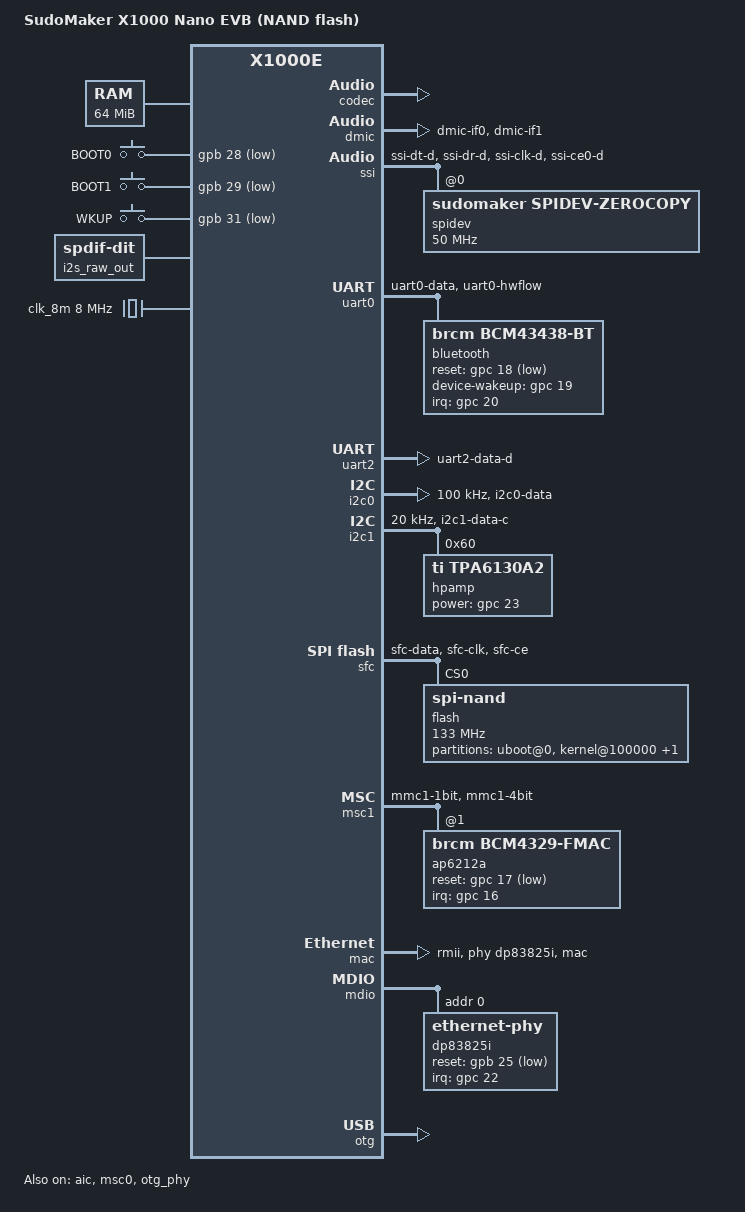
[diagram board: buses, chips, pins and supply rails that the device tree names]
// SPDX-License-Identifier: GPL-2.0
/dts-v1/;

#include "x1000.dtsi"
#include <dt-bindings/gpio/gpio.h>
#include <dt-bindings/input/input.h>
#include <dt-bindings/clock/ingenic,sysost.h>
#include <dt-bindings/interrupt-controller/irq.h>

/ {
	compatible = "sudomaker,x1000-nano-evb", "ingenic,x1000e";
	model = "SudoMaker X1000 Nano EVB (NAND flash)";

	aliases {
		serial2 = &uart2;
	};

	chosen {
		#address-cells = <1>;
		#size-cells = <1>;
		ranges;
		stdout-path = "serial2:115200n8";
		//bootargs = "console=ttyS2,115200n8 mem=64M@0x0 loglevel=7 no_hash_pointers no_console_suspend devtmpfs.mount=1 ingenic_pm_clk=1 ip=off init=/linuxrc ubi.mtd=2 ubi.block=0,0 root=/dev/ubiblock0_0 rootwait";
		// bootargs = "console=ttyS2,115200n8 mem=64M@0x0 loglevel=7 no_hash_pointers no_console_suspend devtmpfs.mount=1 ingenic_pm_clk=1 ip=off init=/bin/ash ubi.mtd=2 ubi.block=0,0 root=/dev/ubiblock0_0 rootwait";

		framebuffer0: framebuffer@3F00000 {
			compatible = "simple-framebuffer";
			reg = <0x03F00000 (240 * 320 * 4)>;
			width = <240>;
			height = <320>;
			stride = <(240 * 4)>;
			format = "a8r8g8b8";
			status = "okay";
		};

		// framebuffer0: framebuffer@3F00000 {
		// 	compatible = "simple-framebuffer";
		// 	reg = <0x03F00000 (320 * 240 * 4)>;
		// 	width = <320>;
		// 	height = <240>;
		// 	stride = <(320 * 4)>;
		// 	format = "a8r8g8b8";
		// 	status = "okay";
		// };
	};

	memory {
		device_type = "memory";
		reg = <0x0 0x04000000>;
	};

	gpio_keys {
		compatible = "gpio-keys";

		btn_lf {
			wakeup-source;
			label = "BOOT0";
			linux,code = <KEY_F1>;
			gpios = <&gpb 28 GPIO_ACTIVE_LOW>;
		};

		btn_rf {
			wakeup-source;
			label = "BOOT1";
			linux,code = <KEY_F2>;
			gpios = <&gpb 29 GPIO_ACTIVE_LOW>;
		};

		btn_wkup {
			wakeup-source;
			label = "WKUP";
			linux,code = <KEY_F3>;
			gpios = <&gpb 31 GPIO_ACTIVE_LOW>;
		};
	};

	sound_internal_codec {
		status = "okay";

		compatible = "simple-audio-card";

		simple-audio-card,name = "x1000-aic";
		simple-audio-card,bitclock-master = <&dai_codec>;
		simple-audio-card,frame-master = <&dai_codec>;
		simple-audio-card,format = "i2s";
		simple-audio-card,aux-devs = <&hpamp>;

		dai_cpu: simple-audio-card,cpu {
			sound-dai = <&aic>;
			system-clock-frequency = <24000000>;
			system-clock-direction-out;
		};

		dai_codec: simple-audio-card,codec {
			sound-dai = <&codec>;
			system-clock-frequency = <24000000>;
		};
	};

	sound_i2s_output_only {
		status = "disabled";

		compatible = "simple-audio-card";

		simple-audio-card,name = "x1000-aic";

		simple-audio-card,mclk-fs = <256>;
		simple-audio-card,bitclock-master = <&dai_codec1>;
		simple-audio-card,frame-master = <&dai_codec1>;
		simple-audio-card,format = "i2s";

		dai_cpu1: simple-audio-card,cpu {
			sound-dai = <&aic>;
			system-clock-direction-out;
		};

		dai_codec1: simple-audio-card,codec {
			sound-dai = <&i2s_raw_out>;
		};
	};

	i2s_raw_out: i2s-generic {
		#address-cells = <0>;
		#size-cells = <0>;
		#sound-dai-cells = <0>;
		compatible = "linux,spdif-dit";
		status = "okay";
	};

	clk_8m: clock {
		compatible = "fixed-clock";
		#clock-cells = <0>;
		clock-frequency = <8000000>;
		clock-accuracy = <100>;
	};
};

&exclk {
	clock-frequency = <24000000>;
};

&cgu {
	assigned-clocks = <&cgu X1000_CLK_SSIMUX>, <&cgu X1000_CLK_RTC>;
	assigned-clock-parents = <&cgu X1000_CLK_SSIPLL_DIV2>, <&cgu X1000_CLK_RTCLK>;
};

&ost {
	/* 1500 kHz for the system timer and clocksource */
	assigned-clocks = <&ost OST_CLK_EVENT_TIMER>, <&ost OST_CLK_GLOBAL_TIMER>;
	assigned-clock-rates = <1500000>, <1500000>;
};

&aic {
	status = "okay";
	pinctrl-names = "default";
	pinctrl-0 = <&pins_i2s>;

	use-internal-codec;
};

&codec {
	status = "okay";
};

&dmic {
	status = "okay";

	pinctrl-names = "default";
	pinctrl-0 = <&pins_dmic>;
};

// &slcd {
// 	// SSD1963
// 	status = "okay";

// 	pinctrl-names = "default";
// 	pinctrl-0 = <&pins_slcd>;

// 	reset-gpios = <&gpc 25 GPIO_ACTIVE_LOW>;
// 	rd-gpios = <&gpb 16 GPIO_ACTIVE_LOW>;

// 	width = <320>;
// 	height = <320>;
// 	buswidth = <8>;
// 	bpp = <24>;
// 	bus-max-speed = <15000000>;

// 	sequence-format = <0>;		// 8bit

// 	init-sequence = /bits/ 16 <
// 		// Set PLL config
// 		// 10 * 30 / 3 = 100 MHz
// 		1 0xe2
// 		2 0x1d 2 0x02 2 0x54

// 		// Enable PLL
// 		1 0xe0
// 		2 0x01

// 		// Wait 1ms
// 		3 1

// 		// Use PLL output as system clock
// 		1 0xe0
// 		2 0x03

// 		// Soft reset
// 		1 0x01

// 		// Wait 20ms
// 		3 20

// 		// Set PCLK frequency
// 		// 100 * ( ( 17039 + 1 ) / 2^20 ) * 4 = 6.500244140625 MHz
// 		1 0xe7
// 		2 0x00 2 0x42 2 0x8f

// 		// Set PWM frequency
// 		1 0xbe
// 		2 0x00 2 0xff 2 0x01 2 0xff 2 0xff 2 0x00


// 		1 0x29			// Display on
// 	>;

// 	write-sequence = /bits/ 16 <
// 		1 0x2c
// 	>;

// 	rotate-sequence-0 = /bits/ 16 <
// 		1 0x36 2 0x08
// 	>;

// 	rotate-sequence-90 = /bits/ 16 <
// 		1 0x36 2 0x60
// 	>;

// 	rotate-sequence-180 = /bits/ 16 <
// 		1 0x36 2 0xc0
// 	>;

// 	rotate-sequence-270 = /bits/ 16 <
// 		1 0x36 2 0xa0
// 	>;
// };

// &slcd {
// 	status = "okay";

// 	pinctrl-names = "default";
// 	pinctrl-0 = <&pins_slcd>;

// 	reset-gpios = <&gpc 25 GPIO_ACTIVE_LOW>;
// 	rd-gpios = <&gpb 16 GPIO_ACTIVE_LOW>;

// 	width = <240>;
// 	height = <320>;
// 	buswidth = <8>;
// 	bpp = <24>;
// 	bus-max-speed = <15000000>;

// 	sequence-format = <0>; // ST7789: 8bit

// 	init-sequence = /bits/ 16 <
// 		1 0x11			// Sleep out
// 		3 120			// Sleep 120ms
// 		1 0x36 2 0x00		// Memory Access Control
// 		1 0x3a 2 0x06		// RGB888
// 		1 0xb2			// Frame rate
// 		2 0x08 2 0x08 2 0x00 2 0x22 2 0x22

// 		1 0xb7 2 0x70		// VGH+14, VGL-7
// 		1 0xbb 2 0x3e		// VCOM
// 		1 0xc0 2 0x2c		// Power control
// 		1 0xc2 2 0x01
// 		1 0xc3 2 0x0d		// GVDD
// 		1 0xc4 2 0x20
// 		1 0xc6 2 0x0f		// Frame Rate Control in Normal Mode
// 		1 0xd0 2 0xa4 2 0xa1

// 		// 1 0xE0			// Set Gamma 1
// 		// 2 0xF0 2 0x03 2 0x05 2 0x08 2 0x08 2 0x05 2 0x1F
// 		// 2 0X44 2 0x2F 2 0x14 2 0x0B 2 0x0A 2 0x06 2 0x0D

// 		// 1 0XE1			// Set Gamma 2
// 		// 2 0xF0 2 0x03 2 0x06 2 0x05 2 0x04 2 0x12 2 0x1F
// 		// 2 0x53 2 0x2F 2 0x27 2 0x0A 2 0x0A 2 0x05 2 0x0D

// 		1 0X21
// 		1 0x29			// Display on
// 	>;

// 	write-sequence = /bits/ 16 <
// 		1 0x2c
// 	>;

// 	rotate-sequence-0 = /bits/ 16 <
// 		1 0x36 2 0x08
// 	>;

// 	rotate-sequence-90 = /bits/ 16 <
// 		1 0x36 2 0x60
// 	>;

// 	rotate-sequence-180 = /bits/ 16 <
// 		1 0x36 2 0xc0
// 	>;

// 	rotate-sequence-270 = /bits/ 16 <
// 		1 0x36 2 0xa0
// 	>;
// };

// &slcd {
// 	status = "okay";

// 	pinctrl-names = "default";
// 	pinctrl-0 = <&pins_slcd>;

// 	reset-gpios = <&gpc 25 GPIO_ACTIVE_LOW>;
// 	rd-gpios = <&gpb 16 GPIO_ACTIVE_LOW>;

// 	width = <320>;
// 	height = <320>;
// 	buswidth = <8>;
// 	bpp = <24>;
// 	bus-max-speed = <15000000>;
// 	use-te;

// 	sequence-format = <0>; // ST7796: 8bit

// 	init-sequence = /bits/ 16 <
// 		1 0x11			// Sleep out
// 		3 120			// Sleep 120ms

// 		1 0xf0 2 0xc3
// 		1 0xf0 2 0x96

// 		1 0x36 2 0x48		// Memory Access Control
// 		1 0x3a 2 0x67		// RGB888

// 		1 0xb4 2 0x00
// 		1 0xb1 2 0xa0 2 0x10
// 		1 0xb5 2 0x1f 2 0x39 2 0x00 2 0x20
// 		1 0xb6 2 0x8a 2 0x07 2 0x27
// 		1 0xb7 2 0xc6
// 		1 0xb9 2 0x02 2 0xe0
// 		1 0xc0 2 0x80 2 0x05	// Power control
// 		1 0xc1 2 0x15
// 		1 0xc2 2 0xa7
// 		1 0xc5 2 0x0c

// 		3 120

// 		1 0xe8 2 0x40 2 0x8a 2 0x00 2 0x00 2 0x29 2 0x19 2 0xaa 2 0x33
// 		1 0xe0 2 0xf0 2 0x03 2 0x09 2 0x02 2 0x01 2 0x01 2 0x33 2 0x44 2 0x49 2 0x3a 2 0x16 2 0x18 2 0x2f 2 0x34
// 		1 0xe1 2 0xf0 2 0x0f 2 0x15 2 0x0d 2 0x0d 2 0x28 2 0x32 2 0x33 2 0x49 2 0x03 2 0x0d 2 0x0e 2 0x28 2 0x2f

// 		3 120

// 		1 0xf0 2 0x3c
// 		1 0xf0 2 0x69

// 		1 0x35 2 0x00

// 		1 0x29			// Display on
// 		1 0x21
// 		1 0x13
// 	>;

// 	write-sequence = /bits/ 16 <
// 		1 0x2c
// 	>;

// 	rotate-sequence-0 = /bits/ 16 <
// 		1 0x36 2 0x48
// 	>;

// 	rotate-sequence-90 = /bits/ 16 <
// 		1 0x36 2 0x48
// 	>;

// 	rotate-sequence-180 = /bits/ 16 <
// 		1 0x36 2 0x48
// 	>;

// 	rotate-sequence-270 = /bits/ 16 <
// 		1 0x36 2 0x48
// 	>;
// };


// &slcd {
// 	status = "okay";

// 	pinctrl-names = "default";
// 	pinctrl-0 = <&pins_slcd>;

// 	reset-gpios = <&gpc 25 GPIO_ACTIVE_LOW>;
// 	rd-gpios = <&gpb 16 GPIO_ACTIVE_LOW>;

// 	width = <480>;
// 	height = <272>;
// 	buswidth = <8>;
// 	bpp = <16>;
// 	bus-max-speed = <15000000>;

// 	sequence-format = <0>; // NV3047D: 8bit

// 	init-sequence = /bits/ 16 <
// 		3 120
// 		1 0xff 2 0xa5
// 		1 0xE7 2 0x10
// 		1 0x35 2 0x00
// 		1 0x36 2 0xc0
// 		1 0x3A 2 0x01
// 		1 0x40 2 0x01
// 		1 0x41 2 0x01
// 		1 0x44 2 0x15
// 		1 0x45 2 0x15
// 		1 0x7d 2 0x03

// 		1 0xc1 2 0xbb
// 		1 0xc2 2 0x05
// 		1 0xc3 2 0x10
// 		1 0xc6 2 0x3e
// 		1 0xc7 2 0x25
// 		1 0xc8 2 0x21
// 		1 0x7a 2 0x40
// 		1 0x6f 2 0x5f
// 		1 0x78 2 0x7f
// 		1 0xc9 2 0x00
// 		1 0x67 2 0x11

// 		1 0x51 2 0x0a
// 		1 0x52 2 0x7d
// 		1 0x53 2 0x0a
// 		1 0x54 2 0x7d

// 		1 0x46 2 0x0a
// 		1 0x47 2 0x2a
// 		1 0x48 2 0x0a
// 		1 0x49 2 0x1a
// 		1 0x44 2 0x15
// 		1 0x45 2 0x15
// 		1 0x73 2 0x08
// 		1 0x74 2 0x10

// 		// 1 0xf8 2 0x16
// 		// 1 0xf9 2 0x20

// 		1 0x56 2 0x43
// 		1 0x57 2 0x42
// 		1 0x58 2 0x3c
// 		1 0x59 2 0x64
// 		1 0x5a 2 0x41
// 		1 0x5b 2 0x3C
// 		1 0x5c 2 0x02
// 		1 0x5d 2 0x3c
// 		1 0x5e 2 0x1f
// 		1 0x60 2 0x80
// 		1 0x61 2 0x3f
// 		1 0x62 2 0x21
// 		1 0x63 2 0x07
// 		1 0x64 2 0xe0
// 		1 0x65 2 0x02
// 		1 0xca 2 0x20
// 		1 0xcb 2 0x52
// 		1 0xcc 2 0x10
// 		1 0xcD 2 0x42
// 		1 0xD0 2 0x20
// 		1 0xD1 2 0x52
// 		1 0xD2 2 0x10
// 		1 0xD3 2 0x42
// 		1 0xD4 2 0x0a
// 		1 0xD5 2 0x32

// 		1 0x80 2 0x00
// 		1 0xA0 2 0x00
// 		1 0x81 2 0x06
// 		1 0xA1 2 0x08
// 		1 0x82 2 0x03
// 		1 0xA2 2 0x03
// 		1 0x86 2 0x14
// 		1 0xA6 2 0x14
// 		1 0x87 2 0x2C
// 		1 0xA7 2 0x26
// 		1 0x83 2 0x37
// 		1 0xA3 2 0x37
// 		1 0x84 2 0x35
// 		1 0xA4 2 0x35
// 		1 0x85 2 0x3f
// 		1 0xA5 2 0x3f
// 		1 0x88 2 0x0A
// 		1 0xA8 2 0x0A
// 		1 0x89 2 0x13
// 		1 0xA9 2 0x12
// 		1 0x8a 2 0x18
// 		1 0xAa 2 0x19
// 		1 0x8b 2 0x0a
// 		1 0xAb 2 0x0a
// 		1 0x8c 2 0x17
// 		1 0xAc 2 0x0B
// 		1 0x8d 2 0x1A
// 		1 0xAd 2 0x09
// 		1 0x8e 2 0x1A
// 		1 0xAe 2 0x08
// 		1 0x8f 2 0x1F
// 		1 0xAf 2 0x00
// 		1 0x90 2 0x08
// 		1 0xB0 2 0x00
// 		1 0x91 2 0x10
// 		1 0xB1 2 0x06

// 		1 0x92 2 0x19
// 		1 0xB2 2 0x15

// 		1 0xff 2 0x00
// 		1 0x11
// 		3 120

// 		1 0x29
// 		3 120
// 	>;

// 	write-sequence = /bits/ 16 <
// 		1 0x2c
// 	>;

// 	rotate-sequence-0 = /bits/ 16 <
// 		1 0x28
// 		1 0x36 2 0xc0
// 		1 0x29
// 	>;

// 	rotate-sequence-90 = /bits/ 16 <
// 		1 0x28
// 		1 0x36 2 0x60
// 		1 0x29
// 	>;

// 	rotate-sequence-180 = /bits/ 16 <
// 		1 0x28
// 		1 0x36 2 0x00
// 		1 0x29
// 	>;

// 	rotate-sequence-270 = /bits/ 16 <
// 		1 0x28
// 		1 0x36 2 0xa0
// 		1 0x29
// 	>;
// };


// &slcd {
// 	status = "okay";

// 	pinctrl-names = "default";
// 	pinctrl-0 = <&pins_slcd>;

// 	reset-gpios = <&gpc 25 GPIO_ACTIVE_LOW>;
// 	rd-gpios = <&gpb 16 GPIO_ACTIVE_LOW>;

// 	panel-model = "TK020F211H";
// 	controller-model = "S6D04K1X01";
// 	width = <320>;
// 	height = <240>;
// 	buswidth = <8>;
// 	bpp = <24>;
// 	bus-max-speed = <15000000>;

// 	sequence-format = <0>; // S6D04K1X01: 8bit

// 	init-sequence = /bits/ 16 <
// 		1 0xf0
// 		2 0x5a 2 0x5a

// 		1 0xf1
// 		2 0x5a 2 0x5a

// 		1 0x11
// 		3 200

// 		1 0xf7
// 		2 0x00 2 0x00 2 0x30 2 0x00

// 		1 0xf2
// 		2 0x1e 2 0x75 2 0x03 2 0x08 2 0x08 2 0x10 2 0x00 2 0x38
// 		2 0xf8 2 0x00 2 0x07 2 0x00 2 0x00 2 0x00 2 0x80 2 0x08 2 0x08

// 		1 0xf3
// 		2 0x01 2 0xFF 2 0xFF 2 0x00 2 0x00

// 		1 0xf4
// 		2 0x0f 2 0x00 2 0x00 2 0x00 2 0xff 2 0xff 2 0x0f 2 0xff
// 		2 0xff 2 0xff 2 0xff 2 0xff 2 0xff 2 0xff 2 0xff 2 0x00
// 		2 0x00 2 0x00 2 0x00

// 		1 0xf5
// 		2 0x00 2 0x44 2 0x40 2 0x00 2 0x00 2 0x01
// 		2 0x00 2 0x00 2 0x00 2 0x00 2 0x00 2 0x00

// 		1 0xf6
// 		2 0x02 2 0x00 2 0x04 2 0x00 2 0x04
// 		2 0x00 2 0x04 2 0x00 2 0x07

// 		1 0x26
// 		2 0x01

// 		1 0xf9
// 		2 0x07

// 		1 0xfa
// 		2 0x00 2 0x00 2 0x1d 2 0x1c 2 0x1c 2 0x1d
// 		2 0x11 2 0x39 2 0x36 2 0x2a 2 0x1a
// 		2 0x00 2 0x00 2 0x00 2 0x00 2 0x00

// 		1 0xfb
// 		2 0x00 2 0x00 2 0x25 2 0x25 2 0x24 2 0x25
// 		2 0x18 2 0x31 2 0x2e 2 0x21 2 0x12 2 0x00
// 		2 0x00 2 0x00 2 0x00 2 0x00

// 		1 0x36	// Memory Data Access Control
// 		2 0x00

// 		1 0x3A	// SET 262K Color
// 		2 0x66

// 		1 0x11
// 		3 120

// 		1 0x29	// Display on
// 		1 0x20
// 	>;

// 	write-sequence = /bits/ 16 <
// 		1 0x2c
// 	>;

// 	rotate-sequence-0 = /bits/ 16 <
// 		1 0x36 2 0x00
// 	>;

// 	rotate-sequence-90 = /bits/ 16 <
// 		1 0x36 2 0x60
// 	>;

// 	rotate-sequence-180 = /bits/ 16 <
// 		1 0x36 2 0xc0
// 	>;

// 	rotate-sequence-270 = /bits/ 16 <
// 		1 0x36 2 0xa0
// 	>;
// };

// &slcd {
// 	status = "okay";

// 	pinctrl-names = "default";
// 	pinctrl-0 = <&pins_slcd>;

// 	reset-gpios = <&gpc 25 GPIO_ACTIVE_LOW>;
// 	rd-gpios = <&gpb 16 GPIO_ACTIVE_LOW>;

// 	panel-model = "TFT3P4011-E";
// 	controller-model = "R61509V";
// 	width = <240>;
// 	height = <400>;
// 	buswidth = <8>;
// 	bpp = <16>;
// 	bus-max-speed = <15000000>;

// 	sequence-format = <1>; // R61509V: 16bit to 2x8bit, big endian

// 	// WIP
// 	init-sequence = /bits/ 16 <
// 		3 120			// Sleep 120ms
// 		1 0x0000 2 0x0000
// 		1 0x0000 2 0x0000
// 		1 0x0000 2 0x0000
// 		1 0x0000 2 0x0000

// 		// 1 0x0400 2 0x6200
// 		1 0x0008 2 0x0808
// 		// 1 0x0300 2 0x0C00	//gamma
// 		// 1 0x0301 2 0x5A0B
// 		// 1 0x0302 2 0x0906
// 		// 1 0x0303 2 0x1017
// 		// 1 0x0304 2 0x2300
// 		// 1 0x0305 2 0x1700
// 		// 1 0x0306 2 0x6309
// 		// 1 0x0307 2 0x0C09
// 		// 1 0x0308 2 0x100C
// 		// 1 0x0309 2 0x2232
// 		1 0x0010 2 0x0016	//69.5Hz
// 		1 0x0011 2 0x0101
// 		1 0x0012 2 0x0000
// 		1 0x0013 2 0x0001
// 		1 0x0100 2 0x0330	//BT,AP
// 		1 0x0101 2 0x0237	//DC0,DC1,VC
// 		1 0x0103 2 0x0F00	//VDV
// 		1 0x0280 2 0x6100	//VCM
// 		1 0x0102 2 0xC1B0	//VRH,VCMR,PSON,PON

// 		3 120

// 		1 0x0001 2 0x0000
// 		1 0x0002 2 0x0100
// 		1 0x0003 2 0xD030	//TRI=1 (8bitx3)
// 		1 0x0009 2 0x0001
// 		1 0x000C 2 0x0000
// 		1 0x0090 2 0x8000
// 		1 0x000F 2 0x0000
// 		1 0x0210 2 0x0000
// 		1 0x0211 2 0x00EF
// 		1 0x0212 2 0x0000
// 		1 0x0213 2 0x018F	//432=1AF, 400=18F
// 		1 0x0500 2 0x0000
// 		1 0x0501 2 0x0000
// 		1 0x0502 2 0x005F

// 		1 0x0400 2 0xE200
// 		1 0x0401 2 0x0001
// 		1 0x0404 2 0x0000

// 		3 120
// 		1 0x0007 2 0x0100	//BASEE
// 		3 120

// 		1 0x0200 2 0x0000
// 		1 0x0201 2 0x0000
// 	>;

// 	write-sequence = /bits/ 16 <
// 		1 0x0202
// 	>;

// 	window-sequence = /bits/ 16 <
// 		1 0x0210 4 16	// x1<15:0>
// 		1 0x0211 4 17	// x2<15:0>
// 		1 0x0212 4 18	// y1<15:0>
// 		1 0x0213 4 19	// y2<15:0>
// 	>;

// 	rotate-sequence-0 = /bits/ 16 <
// 		1 0x0003 2 0xD030
// 	>;

// 	rotate-sequence-90 = /bits/ 16 <
// 		1 0x0003 2 0x9038
// 	>;

// 	rotate-sequence-180 = /bits/ 16 <
// 		1 0x0003 2 0x9030
// 	>;

// 	rotate-sequence-270 = /bits/ 16 <
// 		1 0x0003 2 0x9038
// 	>;
// };

// &slcd {
// 	status = "okay";

// 	pinctrl-names = "default";
// 	pinctrl-0 = <&pins_slcd>;

// 	reset-gpios = <&gpc 25 GPIO_ACTIVE_LOW>;
// 	rd-gpios = <&gpb 16 GPIO_ACTIVE_LOW>;

// 	width = <320>;
// 	height = <320>;
// 	buswidth = <8>;
// 	bpp = <24>;
// 	bus-max-speed = <25000000>;

// 	sequence-format = <1>; // NT35510: 16bit to 2x8bit, big endian

// 	init-sequence = /bits/ 16 <
// 		1 0xf000 2 0x0055
// 		1 0xf001 2 0x00aa
// 		1 0xf002 2 0x0052
// 		1 0xf003 2 0x0008
// 		1 0xf004 2 0x0001

// 		1 0xbc01 2 0x0086
// 		1 0xbc02 2 0x006a
// 		1 0xbd01 2 0x0086
// 		1 0xbd02 2 0x006a
// 		1 0xbe01 2 0x0067

// 		1 0xd100 2 0x0000
// 		1 0xd101 2 0x005d
// 		1 0xd102 2 0x0000
// 		1 0xd103 2 0x006b
// 		1 0xd104 2 0x0000
// 		1 0xd105 2 0x0084
// 		1 0xd106 2 0x0000
// 		1 0xd107 2 0x009c
// 		1 0xd108 2 0x0000
// 		1 0xd109 2 0x00b1
// 		1 0xd10a 2 0x0000
// 		1 0xd10b 2 0x00d9
// 		1 0xd10c 2 0x0000
// 		1 0xd10d 2 0x00fd
// 		1 0xd10e 2 0x0001
// 		1 0xd10f 2 0x0038
// 		1 0xd110 2 0x0001
// 		1 0xd111 2 0x0068
// 		1 0xd112 2 0x0001
// 		1 0xd113 2 0x00b9
// 		1 0xd114 2 0x0001
// 		1 0xd115 2 0x00fb
// 		1 0xd116 2 0x0002
// 		1 0xd117 2 0x0063
// 		1 0xd118 2 0x0002
// 		1 0xd119 2 0x00b9
// 		1 0xd11a 2 0x0002
// 		1 0xd11b 2 0x00bb
// 		1 0xd11c 2 0x0003
// 		1 0xd11d 2 0x0003
// 		1 0xd11e 2 0x0003
// 		1 0xd11f 2 0x0046
// 		1 0xd120 2 0x0003
// 		1 0xd121 2 0x0069
// 		1 0xd122 2 0x0003
// 		1 0xd123 2 0x008f
// 		1 0xd124 2 0x0003
// 		1 0xd125 2 0x00a4
// 		1 0xd126 2 0x0003
// 		1 0xd127 2 0x00b9
// 		1 0xd128 2 0x0003
// 		1 0xd129 2 0x00c7
// 		1 0xd12a 2 0x0003
// 		1 0xd12b 2 0x00c9
// 		1 0xd12c 2 0x0003
// 		1 0xd12d 2 0x00cb
// 		1 0xd12e 2 0x0003
// 		1 0xd12f 2 0x00cb
// 		1 0xd130 2 0x0003
// 		1 0xd131 2 0x00cb
// 		1 0xd132 2 0x0003
// 		1 0xd133 2 0x00cc

// 		1 0xd200 2 0x0000
// 		1 0xd201 2 0x005d
// 		1 0xd202 2 0x0000
// 		1 0xd203 2 0x006b
// 		1 0xd204 2 0x0000
// 		1 0xd205 2 0x0084
// 		1 0xd206 2 0x0000
// 		1 0xd207 2 0x009c
// 		1 0xd208 2 0x0000
// 		1 0xd209 2 0x00b1
// 		1 0xd20a 2 0x0000
// 		1 0xd20b 2 0x00d9
// 		1 0xd20c 2 0x0000
// 		1 0xd20d 2 0x00fd
// 		1 0xd20e 2 0x0001
// 		1 0xd20f 2 0x0038
// 		1 0xd210 2 0x0001
// 		1 0xd211 2 0x0068
// 		1 0xd212 2 0x0001
// 		1 0xd213 2 0x00b9
// 		1 0xd214 2 0x0001
// 		1 0xd215 2 0x00fb
// 		1 0xd216 2 0x0002
// 		1 0xd217 2 0x0063
// 		1 0xd218 2 0x0002
// 		1 0xd219 2 0x00b9
// 		1 0xd21a 2 0x0002
// 		1 0xd21b 2 0x00bb
// 		1 0xd21c 2 0x0003
// 		1 0xd21d 2 0x0003
// 		1 0xd21e 2 0x0003
// 		1 0xd21f 2 0x0046
// 		1 0xd220 2 0x0003
// 		1 0xd221 2 0x0069
// 		1 0xd222 2 0x0003
// 		1 0xd223 2 0x008f
// 		1 0xd224 2 0x0003
// 		1 0xd225 2 0x00a4
// 		1 0xd226 2 0x0003
// 		1 0xd227 2 0x00b9
// 		1 0xd228 2 0x0003
// 		1 0xd229 2 0x00c7
// 		1 0xd22a 2 0x0003
// 		1 0xd22b 2 0x00c9
// 		1 0xd22c 2 0x0003
// 		1 0xd22d 2 0x00cb
// 		1 0xd22e 2 0x0003
// 		1 0xd22f 2 0x00cb
// 		1 0xd230 2 0x0003
// 		1 0xd231 2 0x00cb
// 		1 0xd232 2 0x0003
// 		1 0xd233 2 0x00cc

// 		1 0xd300 2 0x0000
// 		1 0xd301 2 0x005d
// 		1 0xd302 2 0x0000
// 		1 0xd303 2 0x006b
// 		1 0xd304 2 0x0000
// 		1 0xd305 2 0x0084
// 		1 0xd306 2 0x0000
// 		1 0xd307 2 0x009c
// 		1 0xd308 2 0x0000
// 		1 0xd309 2 0x00b1
// 		1 0xd30a 2 0x0000
// 		1 0xd30b 2 0x00d9
// 		1 0xd30c 2 0x0000
// 		1 0xd30d 2 0x00fd
// 		1 0xd30e 2 0x0001
// 		1 0xd30f 2 0x0038
// 		1 0xd310 2 0x0001
// 		1 0xd311 2 0x0068
// 		1 0xd312 2 0x0001
// 		1 0xd313 2 0x00b9
// 		1 0xd314 2 0x0001
// 		1 0xd315 2 0x00fb
// 		1 0xd316 2 0x0002
// 		1 0xd317 2 0x0063
// 		1 0xd318 2 0x0002
// 		1 0xd319 2 0x00b9
// 		1 0xd31a 2 0x0002
// 		1 0xd31b 2 0x00bb
// 		1 0xd31c 2 0x0003
// 		1 0xd31d 2 0x0003
// 		1 0xd31e 2 0x0003
// 		1 0xd31f 2 0x0046
// 		1 0xd320 2 0x0003
// 		1 0xd321 2 0x0069
// 		1 0xd322 2 0x0003
// 		1 0xd323 2 0x008f
// 		1 0xd324 2 0x0003
// 		1 0xd325 2 0x00a4
// 		1 0xd326 2 0x0003
// 		1 0xd327 2 0x00b9
// 		1 0xd328 2 0x0003
// 		1 0xd329 2 0x00c7
// 		1 0xd32a 2 0x0003
// 		1 0xd32b 2 0x00c9
// 		1 0xd32c 2 0x0003
// 		1 0xd32d 2 0x00cb
// 		1 0xd32e 2 0x0003
// 		1 0xd32f 2 0x00cb
// 		1 0xd330 2 0x0003
// 		1 0xd331 2 0x00cb
// 		1 0xd332 2 0x0003
// 		1 0xd333 2 0x00cc

// 		1 0xd400 2 0x0000
// 		1 0xd401 2 0x005d
// 		1 0xd402 2 0x0000
// 		1 0xd403 2 0x006b
// 		1 0xd404 2 0x0000
// 		1 0xd405 2 0x0084
// 		1 0xd406 2 0x0000
// 		1 0xd407 2 0x009c
// 		1 0xd408 2 0x0000
// 		1 0xd409 2 0x00b1
// 		1 0xd40a 2 0x0000
// 		1 0xd40b 2 0x00d9
// 		1 0xd40c 2 0x0000
// 		1 0xd40d 2 0x00fd
// 		1 0xd40e 2 0x0001
// 		1 0xd40f 2 0x0038
// 		1 0xd410 2 0x0001
// 		1 0xd411 2 0x0068
// 		1 0xd412 2 0x0001
// 		1 0xd413 2 0x00b9
// 		1 0xd414 2 0x0001
// 		1 0xd415 2 0x00fb
// 		1 0xd416 2 0x0002
// 		1 0xd417 2 0x0063
// 		1 0xd418 2 0x0002
// 		1 0xd419 2 0x00b9
// 		1 0xd41a 2 0x0002
// 		1 0xd41b 2 0x00bb
// 		1 0xd41c 2 0x0003
// 		1 0xd41d 2 0x0003
// 		1 0xd41e 2 0x0003
// 		1 0xd41f 2 0x0046
// 		1 0xd420 2 0x0003
// 		1 0xd421 2 0x0069
// 		1 0xd422 2 0x0003
// 		1 0xd423 2 0x008f
// 		1 0xd424 2 0x0003
// 		1 0xd425 2 0x00a4
// 		1 0xd426 2 0x0003
// 		1 0xd427 2 0x00b9
// 		1 0xd428 2 0x0003
// 		1 0xd429 2 0x00c7
// 		1 0xd42a 2 0x0003
// 		1 0xd42b 2 0x00c9
// 		1 0xd42c 2 0x0003
// 		1 0xd42d 2 0x00cb
// 		1 0xd42e 2 0x0003
// 		1 0xd42f 2 0x00cb
// 		1 0xd430 2 0x0003
// 		1 0xd431 2 0x00cb
// 		1 0xd432 2 0x0003
// 		1 0xd433 2 0x00cc

// 		1 0xd500 2 0x0000
// 		1 0xd501 2 0x005d
// 		1 0xd502 2 0x0000
// 		1 0xd503 2 0x006b
// 		1 0xd504 2 0x0000
// 		1 0xd505 2 0x0084
// 		1 0xd506 2 0x0000
// 		1 0xd507 2 0x009c
// 		1 0xd508 2 0x0000
// 		1 0xd509 2 0x00b1
// 		1 0xd50a 2 0x0000
// 		1 0xd50b 2 0x00D9
// 		1 0xd50c 2 0x0000
// 		1 0xd50d 2 0x00fd
// 		1 0xd50e 2 0x0001
// 		1 0xd50f 2 0x0038
// 		1 0xd510 2 0x0001
// 		1 0xd511 2 0x0068
// 		1 0xd512 2 0x0001
// 		1 0xd513 2 0x00b9
// 		1 0xd514 2 0x0001
// 		1 0xd515 2 0x00fb
// 		1 0xd516 2 0x0002
// 		1 0xd517 2 0x0063
// 		1 0xd518 2 0x0002
// 		1 0xd519 2 0x00b9
// 		1 0xd51a 2 0x0002
// 		1 0xd51b 2 0x00bb
// 		1 0xd51c 2 0x0003
// 		1 0xd51d 2 0x0003
// 		1 0xd51e 2 0x0003
// 		1 0xd51f 2 0x0046
// 		1 0xd520 2 0x0003
// 		1 0xd521 2 0x0069
// 		1 0xd522 2 0x0003
// 		1 0xd523 2 0x008f
// 		1 0xd524 2 0x0003
// 		1 0xd525 2 0x00a4
// 		1 0xd526 2 0x0003
// 		1 0xd527 2 0x00b9
// 		1 0xd528 2 0x0003
// 		1 0xd529 2 0x00c7
// 		1 0xd52a 2 0x0003
// 		1 0xd52b 2 0x00c9
// 		1 0xd52c 2 0x0003
// 		1 0xd52d 2 0x00cb
// 		1 0xd52e 2 0x0003
// 		1 0xd52f 2 0x00cb
// 		1 0xd530 2 0x0003
// 		1 0xd531 2 0x00cb
// 		1 0xd532 2 0x0003
// 		1 0xd533 2 0x00cc

// 		1 0xd600 2 0x0000
// 		1 0xd601 2 0x005d
// 		1 0xd602 2 0x0000
// 		1 0xd603 2 0x006b
// 		1 0xd604 2 0x0000
// 		1 0xd605 2 0x0084
// 		1 0xd606 2 0x0000
// 		1 0xd607 2 0x009c
// 		1 0xd608 2 0x0000
// 		1 0xd609 2 0x00b1
// 		1 0xd60a 2 0x0000
// 		1 0xd60b 2 0x00d9
// 		1 0xd60c 2 0x0000
// 		1 0xd60d 2 0x00fd
// 		1 0xd60e 2 0x0001
// 		1 0xd60f 2 0x0038
// 		1 0xd610 2 0x0001
// 		1 0xd611 2 0x0068
// 		1 0xd612 2 0x0001
// 		1 0xd613 2 0x00b9
// 		1 0xd614 2 0x0001
// 		1 0xd615 2 0x00fb
// 		1 0xd616 2 0x0002
// 		1 0xd617 2 0x0063
// 		1 0xd618 2 0x0002
// 		1 0xd619 2 0x00b9
// 		1 0xd61a 2 0x0002
// 		1 0xd61b 2 0x00bb
// 		1 0xd61c 2 0x0003
// 		1 0xd61d 2 0x0003
// 		1 0xd61e 2 0x0003
// 		1 0xd61f 2 0x0046
// 		1 0xd620 2 0x0003
// 		1 0xd621 2 0x0069
// 		1 0xd622 2 0x0003
// 		1 0xd623 2 0x008f
// 		1 0xd624 2 0x0003
// 		1 0xd625 2 0x00a4
// 		1 0xd626 2 0x0003
// 		1 0xd627 2 0x00b9
// 		1 0xd628 2 0x0003
// 		1 0xd629 2 0x00c7
// 		1 0xd62a 2 0x0003
// 		1 0xd62b 2 0x00c9
// 		1 0xd62c 2 0x0003
// 		1 0xd62d 2 0x00cb
// 		1 0xd62e 2 0x0003
// 		1 0xd62f 2 0x00cb
// 		1 0xd630 2 0x0003
// 		1 0xd631 2 0x00cb
// 		1 0xd632 2 0x0003
// 		1 0xd633 2 0x00cc

// 		1 0xba00 2 0x0024
// 		1 0xba01 2 0x0024
// 		1 0xba02 2 0x0024

// 		1 0xb900 2 0x0024
// 		1 0xb901 2 0x0024
// 		1 0xb902 2 0x0024

// 		1 0xf000 2 0x0055
// 		1 0xf001 2 0x00aa
// 		1 0xf002 2 0x0052
// 		1 0xf003 2 0x0008
// 		1 0xf004 2 0x0000

// 		1 0xb100 2 0x00cc

// 		1 0xbc00 2 0x0005
// 		1 0xbc01 2 0x0005
// 		1 0xbc02 2 0x0005

// 		1 0xb800 2 0x0001
// 		1 0xb801 2 0x0003
// 		1 0xb802 2 0x0003
// 		1 0xb803 2 0x0003

// 		1 0xbd02 2 0x0007
// 		1 0xbd03 2 0x0031
// 		1 0xbe02 2 0x0007
// 		1 0xbe03 2 0x0031
// 		1 0xbf02 2 0x0007
// 		1 0xbf03 2 0x0031

// 		1 0xff00 2 0x00aa
// 		1 0xff01 2 0x0055
// 		1 0xff02 2 0x0025
// 		1 0xff03 2 0x0001

// 		1 0xf304 2 0x0011
// 		1 0xf306 2 0x0010
// 		1 0xf308 2 0x0000

// 		1 0x3500 2 0x0000

// 		1 0x2a00 2 0x0000
// 		1 0x2a01 2 0x0000
// 		1 0x2a02 2 0x0001
// 		1 0x2a03 2 0x00df

// 		1 0x2b00 2 0x0000
// 		1 0x2b01 2 0x0000
// 		1 0x2b02 2 0x0003
// 		1 0x2b03 2 0x001f
// 		1 0x3600 2 0x00c0

// 		1 0x1100
// 		3 50

// 		1 0x2900
// 		1 0x2c00 2 0x0000 2 0x0000 2 0x0000
// 	>;

// 	write-sequence = /bits/ 16 <
// 		1 0x2c00
// 	>;

// 	window-sequence = /bits/ 16 <
// 		1 0x2a00 4 0
// 		1 0x2a01 4 1
// 		1 0x2a02 4 2
// 		1 0x2a03 4 3

// 		1 0x2b00 4 4
// 		1 0x2b01 4 5
// 		1 0x2b02 4 6
// 		1 0x2b03 4 7
// 	>;

// 	rotate-sequence-0 = /bits/ 16 <
// 		1 0x3600 2 0x0000
// 	>;

// 	rotate-sequence-90 = /bits/ 16 <
// 		1 0x3600 2 0x0060
// 	>;

// 	rotate-sequence-180 = /bits/ 16 <
// 		1 0x3600 2 0x00c0
// 	>;

// 	rotate-sequence-270 = /bits/ 16 <
// 		1 0x3600 2 0x00a0
// 	>;
// };

&slcd {
	status = "disabled";

	pinctrl-names = "default";
	pinctrl-0 = <&pins_slcd>;

	reset-gpios = <&gpc 25 GPIO_ACTIVE_LOW>;
	rd-gpios = <&gpb 16 GPIO_ACTIVE_LOW>;

	width = <480>;
	height = <800>;
	buswidth = <8>;
	bpp = <16>;
	bus-max-speed = <25000000>;

	sequence-format = <1>; // NT35510: 16bit to 2x8bit, big endian

	init-sequence = /bits/ 16 <
		1 0xf000 2 0x0055
		1 0xf001 2 0x00aa
		1 0xf002 2 0x0052
		1 0xf003 2 0x0008
		1 0xf004 2 0x0001

		1 0xbc01 2 0x0086
		1 0xbc02 2 0x006a
		1 0xbd01 2 0x0086
		1 0xbd02 2 0x006a
		1 0xbe01 2 0x0067

		1 0xd100 2 0x0000
		1 0xd101 2 0x005d
		1 0xd102 2 0x0000
		1 0xd103 2 0x006b
		1 0xd104 2 0x0000
		1 0xd105 2 0x0084
		1 0xd106 2 0x0000
		1 0xd107 2 0x009c
		1 0xd108 2 0x0000
		1 0xd109 2 0x00b1
		1 0xd10a 2 0x0000
		1 0xd10b 2 0x00d9
		1 0xd10c 2 0x0000
		1 0xd10d 2 0x00fd
		1 0xd10e 2 0x0001
		1 0xd10f 2 0x0038
		1 0xd110 2 0x0001
		1 0xd111 2 0x0068
		1 0xd112 2 0x0001
		1 0xd113 2 0x00b9
		1 0xd114 2 0x0001
		1 0xd115 2 0x00fb
		1 0xd116 2 0x0002
		1 0xd117 2 0x0063
		1 0xd118 2 0x0002
		1 0xd119 2 0x00b9
		1 0xd11a 2 0x0002
		1 0xd11b 2 0x00bb
		1 0xd11c 2 0x0003
		1 0xd11d 2 0x0003
		1 0xd11e 2 0x0003
		1 0xd11f 2 0x0046
		1 0xd120 2 0x0003
		1 0xd121 2 0x0069
		1 0xd122 2 0x0003
		1 0xd123 2 0x008f
		1 0xd124 2 0x0003
		1 0xd125 2 0x00a4
		1 0xd126 2 0x0003
		1 0xd127 2 0x00b9
		1 0xd128 2 0x0003
		1 0xd129 2 0x00c7
		1 0xd12a 2 0x0003
		1 0xd12b 2 0x00c9
		1 0xd12c 2 0x0003
		1 0xd12d 2 0x00cb
		1 0xd12e 2 0x0003
		1 0xd12f 2 0x00cb
		1 0xd130 2 0x0003
		1 0xd131 2 0x00cb
		1 0xd132 2 0x0003
		1 0xd133 2 0x00cc

		1 0xd200 2 0x0000
		1 0xd201 2 0x005d
		1 0xd202 2 0x0000
		1 0xd203 2 0x006b
		1 0xd204 2 0x0000
		1 0xd205 2 0x0084
		1 0xd206 2 0x0000
		1 0xd207 2 0x009c
		1 0xd208 2 0x0000
		1 0xd209 2 0x00b1
		1 0xd20a 2 0x0000
		1 0xd20b 2 0x00d9
		1 0xd20c 2 0x0000
		1 0xd20d 2 0x00fd
		1 0xd20e 2 0x0001
		1 0xd20f 2 0x0038
		1 0xd210 2 0x0001
		1 0xd211 2 0x0068
		1 0xd212 2 0x0001
		1 0xd213 2 0x00b9
		1 0xd214 2 0x0001
		1 0xd215 2 0x00fb
		1 0xd216 2 0x0002
		1 0xd217 2 0x0063
		1 0xd218 2 0x0002
		1 0xd219 2 0x00b9
		1 0xd21a 2 0x0002
		1 0xd21b 2 0x00bb
		1 0xd21c 2 0x0003
		1 0xd21d 2 0x0003
		1 0xd21e 2 0x0003
		1 0xd21f 2 0x0046
		1 0xd220 2 0x0003
		1 0xd221 2 0x0069
		1 0xd222 2 0x0003
		1 0xd223 2 0x008f
		1 0xd224 2 0x0003
		1 0xd225 2 0x00a4
		1 0xd226 2 0x0003
		1 0xd227 2 0x00b9
		1 0xd228 2 0x0003
		1 0xd229 2 0x00c7
		1 0xd22a 2 0x0003
		1 0xd22b 2 0x00c9
		1 0xd22c 2 0x0003
		1 0xd22d 2 0x00cb
		1 0xd22e 2 0x0003
		1 0xd22f 2 0x00cb
		1 0xd230 2 0x0003
		1 0xd231 2 0x00cb
		1 0xd232 2 0x0003
		1 0xd233 2 0x00cc

		1 0xd300 2 0x0000
		1 0xd301 2 0x005d
		1 0xd302 2 0x0000
		1 0xd303 2 0x006b
		1 0xd304 2 0x0000
		1 0xd305 2 0x0084
		1 0xd306 2 0x0000
		1 0xd307 2 0x009c
		1 0xd308 2 0x0000
		1 0xd309 2 0x00b1
		1 0xd30a 2 0x0000
		1 0xd30b 2 0x00d9
		1 0xd30c 2 0x0000
		1 0xd30d 2 0x00fd
		1 0xd30e 2 0x0001
		1 0xd30f 2 0x0038
		1 0xd310 2 0x0001
		1 0xd311 2 0x0068
		1 0xd312 2 0x0001
		1 0xd313 2 0x00b9
		1 0xd314 2 0x0001
		1 0xd315 2 0x00fb
		1 0xd316 2 0x0002
		1 0xd317 2 0x0063
		1 0xd318 2 0x0002
		1 0xd319 2 0x00b9
		1 0xd31a 2 0x0002
		1 0xd31b 2 0x00bb
		1 0xd31c 2 0x0003
		1 0xd31d 2 0x0003
		1 0xd31e 2 0x0003
		1 0xd31f 2 0x0046
		1 0xd320 2 0x0003
		1 0xd321 2 0x0069
		1 0xd322 2 0x0003
		1 0xd323 2 0x008f
		1 0xd324 2 0x0003
		1 0xd325 2 0x00a4
		1 0xd326 2 0x0003
		1 0xd327 2 0x00b9
		1 0xd328 2 0x0003
		1 0xd329 2 0x00c7
		1 0xd32a 2 0x0003
		1 0xd32b 2 0x00c9
		1 0xd32c 2 0x0003
		1 0xd32d 2 0x00cb
		1 0xd32e 2 0x0003
		1 0xd32f 2 0x00cb
		1 0xd330 2 0x0003
		1 0xd331 2 0x00cb
		1 0xd332 2 0x0003
		1 0xd333 2 0x00cc

		1 0xd400 2 0x0000
		1 0xd401 2 0x005d
		1 0xd402 2 0x0000
		1 0xd403 2 0x006b
		1 0xd404 2 0x0000
		1 0xd405 2 0x0084
		1 0xd406 2 0x0000
		1 0xd407 2 0x009c
		1 0xd408 2 0x0000
		1 0xd409 2 0x00b1
		1 0xd40a 2 0x0000
		1 0xd40b 2 0x00d9
		1 0xd40c 2 0x0000
		1 0xd40d 2 0x00fd
		1 0xd40e 2 0x0001
		1 0xd40f 2 0x0038
		1 0xd410 2 0x0001
		1 0xd411 2 0x0068
		1 0xd412 2 0x0001
		1 0xd413 2 0x00b9
		1 0xd414 2 0x0001
		1 0xd415 2 0x00fb
		1 0xd416 2 0x0002
		1 0xd417 2 0x0063
		1 0xd418 2 0x0002
		1 0xd419 2 0x00b9
		1 0xd41a 2 0x0002
		1 0xd41b 2 0x00bb
		1 0xd41c 2 0x0003
		1 0xd41d 2 0x0003
		1 0xd41e 2 0x0003
		1 0xd41f 2 0x0046
		1 0xd420 2 0x0003
		1 0xd421 2 0x0069
		1 0xd422 2 0x0003
		1 0xd423 2 0x008f
		1 0xd424 2 0x0003
		1 0xd425 2 0x00a4
		1 0xd426 2 0x0003
		1 0xd427 2 0x00b9
		1 0xd428 2 0x0003
		1 0xd429 2 0x00c7
		1 0xd42a 2 0x0003
		1 0xd42b 2 0x00c9
		1 0xd42c 2 0x0003
		1 0xd42d 2 0x00cb
		1 0xd42e 2 0x0003
		1 0xd42f 2 0x00cb
		1 0xd430 2 0x0003
		1 0xd431 2 0x00cb
		1 0xd432 2 0x0003
		1 0xd433 2 0x00cc

		1 0xd500 2 0x0000
		1 0xd501 2 0x005d
		1 0xd502 2 0x0000
		1 0xd503 2 0x006b
		1 0xd504 2 0x0000
		1 0xd505 2 0x0084
		1 0xd506 2 0x0000
		1 0xd507 2 0x009c
		1 0xd508 2 0x0000
		1 0xd509 2 0x00b1
		1 0xd50a 2 0x0000
		1 0xd50b 2 0x00D9
		1 0xd50c 2 0x0000
		1 0xd50d 2 0x00fd
		1 0xd50e 2 0x0001
		1 0xd50f 2 0x0038
		1 0xd510 2 0x0001
		1 0xd511 2 0x0068
		1 0xd512 2 0x0001
		1 0xd513 2 0x00b9
		1 0xd514 2 0x0001
		1 0xd515 2 0x00fb
		1 0xd516 2 0x0002
		1 0xd517 2 0x0063
		1 0xd518 2 0x0002
		1 0xd519 2 0x00b9
		1 0xd51a 2 0x0002
		1 0xd51b 2 0x00bb
		1 0xd51c 2 0x0003
		1 0xd51d 2 0x0003
		1 0xd51e 2 0x0003
		1 0xd51f 2 0x0046
		1 0xd520 2 0x0003
		1 0xd521 2 0x0069
		1 0xd522 2 0x0003
		1 0xd523 2 0x008f
		1 0xd524 2 0x0003
		1 0xd525 2 0x00a4
		1 0xd526 2 0x0003
		1 0xd527 2 0x00b9
		1 0xd528 2 0x0003
		1 0xd529 2 0x00c7
		1 0xd52a 2 0x0003
		1 0xd52b 2 0x00c9
		1 0xd52c 2 0x0003
		1 0xd52d 2 0x00cb
		1 0xd52e 2 0x0003
		1 0xd52f 2 0x00cb
		1 0xd530 2 0x0003
		1 0xd531 2 0x00cb
		1 0xd532 2 0x0003
		1 0xd533 2 0x00cc

		1 0xd600 2 0x0000
		1 0xd601 2 0x005d
		1 0xd602 2 0x0000
		1 0xd603 2 0x006b
		1 0xd604 2 0x0000
		1 0xd605 2 0x0084
		1 0xd606 2 0x0000
		1 0xd607 2 0x009c
		1 0xd608 2 0x0000
		1 0xd609 2 0x00b1
		1 0xd60a 2 0x0000
		1 0xd60b 2 0x00d9
		1 0xd60c 2 0x0000
		1 0xd60d 2 0x00fd
		1 0xd60e 2 0x0001
		1 0xd60f 2 0x0038
		1 0xd610 2 0x0001
		1 0xd611 2 0x0068
		1 0xd612 2 0x0001
		1 0xd613 2 0x00b9
		1 0xd614 2 0x0001
		1 0xd615 2 0x00fb
		1 0xd616 2 0x0002
		1 0xd617 2 0x0063
		1 0xd618 2 0x0002
		1 0xd619 2 0x00b9
		1 0xd61a 2 0x0002
		1 0xd61b 2 0x00bb
		1 0xd61c 2 0x0003
		1 0xd61d 2 0x0003
		1 0xd61e 2 0x0003
		1 0xd61f 2 0x0046
		1 0xd620 2 0x0003
		1 0xd621 2 0x0069
		1 0xd622 2 0x0003
		1 0xd623 2 0x008f
		1 0xd624 2 0x0003
		1 0xd625 2 0x00a4
		1 0xd626 2 0x0003
		1 0xd627 2 0x00b9
		1 0xd628 2 0x0003
		1 0xd629 2 0x00c7
		1 0xd62a 2 0x0003
		1 0xd62b 2 0x00c9
		1 0xd62c 2 0x0003
		1 0xd62d 2 0x00cb
		1 0xd62e 2 0x0003
		1 0xd62f 2 0x00cb
		1 0xd630 2 0x0003
		1 0xd631 2 0x00cb
		1 0xd632 2 0x0003
		1 0xd633 2 0x00cc

		1 0xba00 2 0x0024
		1 0xba01 2 0x0024
		1 0xba02 2 0x0024

		1 0xb900 2 0x0024
		1 0xb901 2 0x0024
		1 0xb902 2 0x0024

		1 0xf000 2 0x0055
		1 0xf001 2 0x00aa
		1 0xf002 2 0x0052
		1 0xf003 2 0x0008
		1 0xf004 2 0x0000

		1 0xb100 2 0x00cc

		1 0xbc00 2 0x0005
		1 0xbc01 2 0x0005
		1 0xbc02 2 0x0005

		1 0xb800 2 0x0001
		1 0xb801 2 0x0003
		1 0xb802 2 0x0003
		1 0xb803 2 0x0003

		1 0xbd02 2 0x0007
		1 0xbd03 2 0x0031
		1 0xbe02 2 0x0007
		1 0xbe03 2 0x0031
		1 0xbf02 2 0x0007
		1 0xbf03 2 0x0031

		1 0xff00 2 0x00aa
		1 0xff01 2 0x0055
		1 0xff02 2 0x0025
		1 0xff03 2 0x0001

		1 0xf304 2 0x0011
		1 0xf306 2 0x0010
		1 0xf308 2 0x0000

		1 0x3500 2 0x0000

		1 0x2a00 2 0x0000
		1 0x2a01 2 0x0000
		1 0x2a02 2 0x0001
		1 0x2a03 2 0x00df

		1 0x2b00 2 0x0000
		1 0x2b01 2 0x0000
		1 0x2b02 2 0x0003
		1 0x2b03 2 0x001f
		1 0x3600 2 0x00c0
		1 0x3a00 2 0x0055 // 16-bit

		1 0x1100
		3 50
	>;

	enable-sequence = /bits/ 16 <
		1 0x2900
	>;

	disable-sequence = /bits/ 16 <
		1 0x2800
	>;

	write-sequence = /bits/ 16 <
		1 0x2c00
	>;

	window-sequence = /bits/ 16 <
		1 0x2a00 4 0
		1 0x2a01 4 1
		1 0x2a02 4 2
		1 0x2a03 4 3

		1 0x2b00 4 4
		1 0x2b01 4 5
		1 0x2b02 4 6
		1 0x2b03 4 7
	>;

	rotate-sequence-0 = /bits/ 16 <
		1 0x3600 2 0x0000
	>;

	rotate-sequence-90 = /bits/ 16 <
		1 0x3600 2 0x0060
	>;

	rotate-sequence-180 = /bits/ 16 <
		1 0x3600 2 0x00c0
	>;

	rotate-sequence-270 = /bits/ 16 <
		1 0x3600 2 0x00a0
	>;
};

&ssi {
	status = "okay";

	pinctrl-names = "default";
	pinctrl-0 = <&pins_spi0>;

	num-cs = <1>;
	cs-gpios = <0>;

	spidev: spidev@0 {
		reg = <0>;
		compatible = "sudomaker,spidev-zerocopy";

		spi-max-frequency = <50000000>;
	};

};

&uart0 {
	status = "okay";

	pinctrl-names = "default";
	pinctrl-0 = <&pins_uart0>;

	uart-has-rtscts;

	bluetooth {
		compatible = "brcm,bcm43438-bt";
		max-speed = <1500000>;
		brcm,bt-pcm-int-params = [01 02 00 01 01];
		reset-gpios = <&gpc 18 GPIO_ACTIVE_LOW>;
		device-wakeup-gpios = <&gpc 19 GPIO_ACTIVE_HIGH>;
		interrupt-parent = <&gpc>;
		interrupts = <20 IRQ_TYPE_EDGE_FALLING>;

		pinctrl-names = "default";
		pinctrl-0 = <&pins_rtc32k>;
	};
};

&uart2 {
	status = "okay";

	pinctrl-names = "default";
	pinctrl-0 = <&pins_uart2>;
};

&i2c0 {
	status = "okay";

	clock-frequency = <100000>;

	pinctrl-names = "default";
	pinctrl-0 = <&pins_i2c0>;

	// ts3a227e: ts3a227e@3b {
	// 		compatible = "ti,ts3a227e";
	// 		reg = <0x3b>;
	// 		interrupt-parent = <&gpc>;
	// 		interrupts = <25 IRQ_TYPE_LEVEL_LOW>;
	// };

	// codec_nau88c22: nau88c22@1a {
	// 	compatible = "nuvoton,nau8822";
	// 	reg = <0x1a>;

	// 	#sound-dai-cells = <0>;
	// };
};

&i2c1 {
	status = "okay";

	clock-frequency = <20000>;

	pinctrl-names = "default";
	pinctrl-0 = <&pins_i2c1>;

	hpamp: tpa6130a2@60 {
		compatible = "ti,tpa6130a2";
		reg = <0x60>;
		power-gpio = <&gpc 23 GPIO_ACTIVE_HIGH>;
	};
};

&sfc {
	status = "okay";

	#address-cells = <1>;
	#size-cells = <0>;

	pinctrl-names = "default";
	pinctrl-0 = <&pins_sfc>;

	flash: spinand@0 {
		compatible = "spi-nand";
		spi-max-frequency = <133000000>;
		reg = <0>;

		spi-rx-bus-width = <4>;
		spi-tx-bus-width = <4>;

		partitions {
			compatible = "fixed-partitions";
			#address-cells = <1>;
			#size-cells = <1>;

			uboot@0 {
				reg = <0x0 0x100000>;
			};

			kernel@100000 {
				reg = <0x100000 0x600000>;
			};

			rootfs@700000 {
				reg = <0x700000 0xFB00000>;
			};
		};
	};

};

&msc0 {
	status = "okay";

	bus-width = <4>;
	max-frequency = <60000000>;

	pinctrl-names = "default";
	pinctrl-0 = <&pins_msc0>;

	non-removable;
};

&msc1 {
		status = "okay";

		#address-cells = <1>;
		#size-cells = <0>;
		bus-width = <4>;
		max-frequency = <50000000>;

		pinctrl-names = "default";
		pinctrl-0 = <&pins_msc1>;

		non-removable;
		cap-power-off-card;
		keep-power-in-suspend;
		wakeup-source;

		//mmc-pwrseq = <&wlan_pwrseq>;

		ap6212a: wifi@1 {
				compatible = "brcm,bcm4329-fmac";
				reg = <1>;

				interrupt-parent = <&gpc>;
				interrupts = <16 IRQ_TYPE_EDGE_FALLING>;
				interrupt-names = "host-wake";
				wakeup-source;

				reset-gpios = <&gpc 17 GPIO_ACTIVE_LOW>;

				brcm,drive-strength = <10>;
		};
};

&mac {
	status = "okay";

	phy-mode = "rmii";
	phy-handle = <&dp83825i>;

	pinctrl-names = "default";
	pinctrl-0 = <&pins_mac>;
};

&mdio {
	status = "okay";

	dp83825i: ethernet-phy@0 {
		reg = <0>;

		interrupt-parent = <&gpc>;
		interrupts = <22 IRQ_TYPE_LEVEL_LOW>;
		wakeup-source;

		reset-names = "phy";
		reset-gpios = <&gpb 25 GPIO_ACTIVE_LOW>;
		reset-assert-us = <10000>;
		reset-deassert-us = <30000>;
	};
};

&otg_phy {
	status = "okay";
};

&otg {
	status = "okay";
};

&pinctrl {
	pins_rtc32k: rtc32k {
		function = "rtc32k";
		groups = "rtc32k";
	};

	pins_sfc: sfc {
		function = "sfc";
		groups = "sfc-data", "sfc-clk", "sfc-ce";
	};

	pins_slcd: slcd {
		function = "lcd";
		groups = "lcd-8bit";
	};

	pins_emc: emc {
		function = "lcd";
		groups = "lcd-8bit";
	};

	pins_spi0: spi0 {
		function = "ssi";
		groups = "ssi-dt-d", "ssi-dr-d", "ssi-clk-d", "ssi-ce0-d";
	};

	pins_uart0: uart0 {
		function = "uart0";
		groups = "uart0-data", "uart0-hwflow";
	};

	pins_uart2: uart2 {
		function = "uart2";
		groups = "uart2-data-d";
	};

	pins_i2c0: i2c0 {
		function = "i2c0";
		groups = "i2c0-data";
		bias-disable;
	};

	pins_i2c1: i2c1 {
		function = "i2c1";
		groups = "i2c1-data-c";
		bias-pull-up;
	};

	pins_i2s: i2s {
		function = "i2s";
		groups = "i2s-data-tx", "i2s-data-rx", "i2s-clk-txrx", "i2s-sysclk";
	};

	pins_dmic: dmic {
		function = "dmic";
		groups = "dmic-if0", "dmic-if1";
	};

	pins_msc0: msc0 {
		function = "mmc0";
		groups = "mmc0-1bit", "mmc0-4bit";
	};

	pins_msc1: msc1 {
		function = "mmc1";
		groups = "mmc1-1bit", "mmc1-4bit";
	};

	pins_mac: mac {
		function = "mac";
		groups = "mac";
		bias-disable;
	};
};
